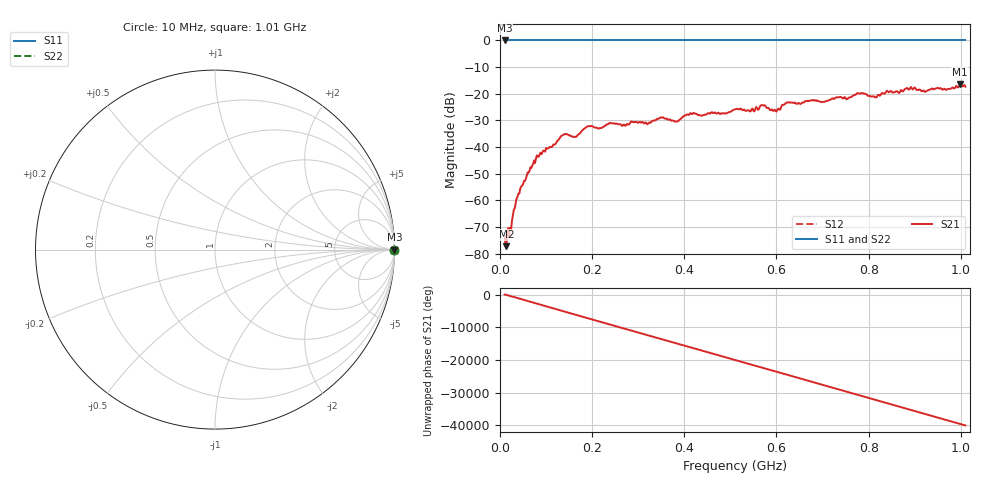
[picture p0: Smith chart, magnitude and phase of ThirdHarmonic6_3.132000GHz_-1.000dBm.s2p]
! 8/17/2025 9:19:38 AM
! C:\ANRITSUVNA\TEMP\TEMP.S2P
! CHANNEL.1
! TR.MEASUREMENT
! RAW.DATA
! RF.CORRECTION.OFF
! AVERAGING.OFF
! IF.BANDWIDTH: 5KHZ
! SWEEPTYPE:  FREQ.SWEEP(Linear)
! Reference Plane Port Info
! PORT:  PORT1  PORT2
! DISTANCE:  0  m  0  m
! TIME:  0  s  0  s
! PHASE.OFFSET:  0  deg.  0  deg.
! LOSS:  0  dB  0  dB
! REF.LOSS:  0  dB  0  dB
! REF.FREQ:  0  Hz  0  Hz
! Power Info
! POWER:  -20  dBm  -20  dBm
! EFF.POWER:  -20  dBm  -20  dBm
! SOURCE.ATTEN:  0  dB  0  dB
! TEST.ATTEN:  0  dB  0  dB
# GHZ S RI R 50.0
! FREQ.GHZ  S11RE  S11IM  S21RE  S21IM  S12RE  S12IM  S22RE  S22IM
!; PortSelection: Port_12
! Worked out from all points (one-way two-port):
!   501 points, 10 MHz to 1.01 GHz, reference 50 ohm
!   highest |S21| = -16.45 dB at 998 MHz (marker M1); lowest = -77.2 dB at 14 MHz (marker M2)
!   lowest |S11| = 0.0 dB at 10 MHz (marker M3)
!   |S11| at or under -10 dB: nowhere
!   |S22| runs from 0.0 to 0.0 dB; largest |S21 - S12| = 1.1
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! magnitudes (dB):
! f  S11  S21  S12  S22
! 10 MHz  0.0  -73.4  0.0  0.0
! 14 MHz  0.0  -77.2  0.0  0.0
! 24 MHz  0.0  -71.2  0.0  0.0
! 40 MHz  0.0  -57.5  0.0  0.0
! 78 MHz  0.0  -44.4  0.0  0.0
! 136 MHz  0.0  -35.6  0.0  0.0
! 162 MHz  0.0  -36.1  0.0  0.0
! 178 MHz  0.0  -33.8  0.0  0.0
! 194 MHz  0.0  -32.2  0.0  0.0
! 344 MHz  0.0  -29.4  0.0  0.0
! 382 MHz  0.0  -30.4  0.0  0.0
! 416 MHz  0.0  -27.6  0.0  0.0
! 510 MHz  0.0  -25.9  0.0  0.0
! 570 MHz  0.0  -24.3  0.0  0.0
! 596 MHz  0.0  -26.0  0.0  0.0
! 624 MHz  0.0  -23.3  0.0  0.0
! 678 MHz  0.0  -22.4  0.0  0.0
! 780 MHz  0.0  -20.0  0.0  0.0
! 814 MHz  0.0  -21.3  0.0  0.0
! 844 MHz  0.0  -19.5  0.0  0.0
! 998 MHz  0.0  -16.5  0.0  0.0
! 1.01 GHz  0.0  -17.4  0.0  0.0
